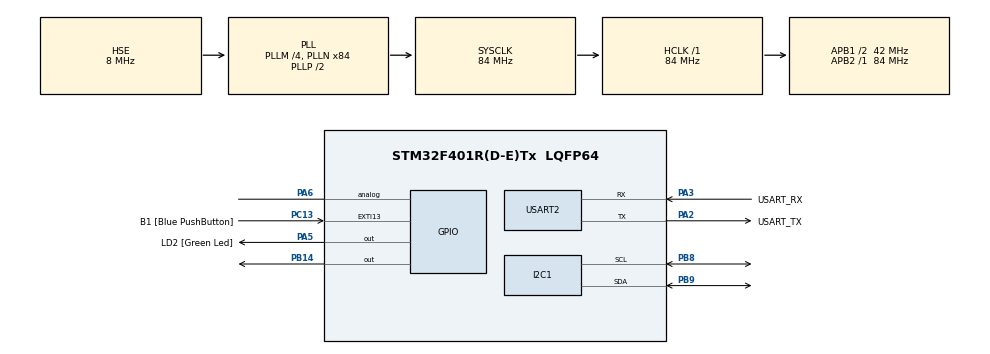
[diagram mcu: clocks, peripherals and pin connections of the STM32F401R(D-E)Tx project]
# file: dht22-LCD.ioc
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I2C1.I2C_Mode=I2C_Fast
Mcu.Family=STM32F4
Mcu.Name=STM32F401R(D-E)Tx
Mcu.Package=LQFP64
NVIC.PriorityGroup=NVIC_PRIORITYGROUP_4
PA13.GPIO_Label=TMS
PA13.Mode=Serial_Wire
PA13.Signal=SYS_JTMS-SWDIO
PA14.GPIO_Label=TCK
PA14.Mode=Serial_Wire
PA14.Signal=SYS_JTCK-SWCLK
PA2.GPIO_Label=USART_TX
PA2.GPIO_Mode=GPIO_MODE_AF_PP
PA2.GPIO_PuPd=GPIO_NOPULL
PA2.GPIO_Speed=GPIO_SPEED_FREQ_LOW
PA2.Mode=Asynchronous
PA2.Signal=USART2_TX
PA3.GPIO_Label=USART_RX
PA3.GPIO_Mode=GPIO_MODE_AF_PP
PA3.GPIO_PuPd=GPIO_NOPULL
PA3.GPIO_Speed=GPIO_SPEED_FREQ_LOW
PA3.Mode=Asynchronous
PA3.Signal=USART2_RX
PA5.GPIO_Label=LD2 [Green Led]
PA5.GPIO_Mode=GPIO_MODE_OUTPUT_PP
PA5.GPIO_PuPd=GPIO_NOPULL
PA5.GPIO_Speed=GPIO_SPEED_FREQ_LOW
PA5.Signal=GPIO_Output
PA6.Signal=GPIO_Analog
PB14.Signal=GPIO_Output
PB3.GPIO_Label=SWO
PB3.Signal=SYS_JTDO-SWO
PB8.Mode=I2C
PB8.Signal=I2C1_SCL
PB9.Mode=I2C
PB9.Signal=I2C1_SDA
PC13-ANTI_TAMP.GPIO_Label=B1 [Blue PushButton]
PC13-ANTI_TAMP.GPIO_ModeDefaultEXTI=GPIO_MODE_IT_FALLING
PC13-ANTI_TAMP.GPIO_PuPd=GPIO_NOPULL
PC13-ANTI_TAMP.Signal=GPXTI13
PC14-OSC32_IN.Signal=RCC_OSC32_IN
PC15-OSC32_OUT.Signal=RCC_OSC32_OUT
PH0\ -\ OSC_IN.Mode=HSE-External-Oscillator
PH0\ -\ OSC_IN.Signal=RCC_OSC_IN
PH1\ -\ OSC_OUT.Mode=HSE-External-Oscillator
PH1\ -\ OSC_OUT.Signal=RCC_OSC_OUT
ProjectManager.HeapSize=0x200
ProjectManager.StackSize=0x400
ProjectManager.TargetToolchain=STM32CubeIDE
RCC.48MHZClocksFreq_Value=24000000
RCC.AHBFreq_Value=84000000
RCC.APB1CLKDivider=RCC_HCLK_DIV2
RCC.APB1Freq_Value=42000000
RCC.APB1TimFreq_Value=84000000
RCC.APB2Freq_Value=84000000
RCC.APB2TimFreq_Value=84000000
RCC.CortexFreq_Value=84000000
RCC.HCLKFreq_Value=84000000
RCC.HSE_VALUE=8000000
RCC.HSI_VALUE=16000000
RCC.LSE_VALUE=32768
RCC.PLLM=4
RCC.PLLN=84
RCC.PLLQ=7
RCC.PLLSourceVirtual=RCC_PLLSOURCE_HSE
RCC.SYSCLKFreq_VALUE=84000000
RCC.SYSCLKSource=RCC_SYSCLKSOURCE_PLLCLK
RCC.VCOOutputFreq_Value=168000000
TIM1.Prescaler=71
USART2.VirtualMode=VM_ASYNC
VP_TIM1_VS_ClockSourceINT.Mode=Internal
board=NUCLEO-F401RE

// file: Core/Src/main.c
/* USER CODE BEGIN Header */
/**
  ******************************************************************************
  * @file           : main.c
  * @brief          : DHT11 -> I2C LCD 16x2 (HLF8574T backpack)
  *
  *  Pinout:
  *    DHT11 Data  -> PA6  (10kΩ pull-up to 3.3V)
  *    LCD SDA     -> PB7  (I2C1)
  *    LCD SCL     -> PB6  (I2C1)
  ******************************************************************************
  */
/* USER CODE END Header */
#include "main.h"

/* USER CODE BEGIN Includes */
#include "dht11.h"
#include "lcd_i2c.h"
#include <stdio.h>
#include <string.h>
/* USER CODE END Includes */

I2C_HandleTypeDef hi2c1;

TIM_HandleTypeDef htim1;

UART_HandleTypeDef huart2;

/* USER CODE BEGIN PV */
/* Raw values stored as tenths: 450 = 45.0%, 280 = 28.0C */
int16_t hum_raw  = 0;
int16_t temp_raw = 0;
char    lcd_buf[17];
char    uart_buf[64];
/* USER CODE END PV */

void SystemClock_Config(void);
static void MX_GPIO_Init(void);
static void MX_USART2_UART_Init(void);
static void MX_I2C1_Init(void);
static void MX_TIM1_Init(void);

/* USER CODE BEGIN 0 */

/* ── LCD display: DHT11 reading ──────────────────────────────────── */
/* Row 0: "Hum:  45.0 %    "                                          */
/* Row 1: "T: 28.0C  82.4F "                                          */
void LCD_ShowDHT11(int16_t hum, int16_t temp)
{
    int hum_i  = hum  / 10;
    int hum_d  = hum  % 10;
    int temp_i = temp / 10;
    int temp_d = temp % 10;

    /* Fahrenheit: (C * 9/5) + 32, keeping tenths precision */
    int32_t tempF_raw = (int32_t)temp * 9 / 5 + 320;
    int tempF_i = (int)(tempF_raw / 10);
    int tempF_d = (int)(tempF_raw % 10);

    LCD_SetCursor(0, 0);
    snprintf(lcd_buf, sizeof(lcd_buf), "Hum:  %2d.%d %%    ", hum_i, hum_d);
    LCD_Print(lcd_buf);

    LCD_SetCursor(0, 1);
    snprintf(lcd_buf, sizeof(lcd_buf), "T:%2d.%dC  %3d.%dF", temp_i, temp_d, tempF_i, tempF_d);
    LCD_Print(lcd_buf);
}

/* ── LCD display: sensor error ───────────────────────────────────── */
void LCD_ShowError(void)
{
    LCD_SetCursor(0, 0);
    LCD_Print("  Sensor Error! ");
    LCD_SetCursor(0, 1);
    LCD_Print(" Check wiring.. ");
}

/* USER CODE END 0 */

int main(void)
{

  /* MCU Configuration--------------------------------------------------------*/

  /* Reset of all peripherals, Initializes the Flash interface and the Systick. */
  HAL_Init();

  /* Configure the system clock */
  SystemClock_Config();

  /* Initialize all configured peripherals */
	MX_GPIO_Init();
	MX_USART2_UART_Init();
	MX_I2C1_Init();
	MX_TIM1_Init();
  /* USER CODE BEGIN 2 */
	HAL_TIM_Base_Start(&htim1);
	HAL_Delay(200);

  /* LCD splash screen */
	LCD_Init(&hi2c1);
	LCD_SetCursor(0, 0);
	LCD_Print("  DHT11 + LCD   ");
	LCD_SetCursor(0, 1);
	LCD_Print("  Starting...   ");
	HAL_Delay(2000);
	LCD_Clear();

  /* USER CODE END 2 */

  /* Infinite loop */
  while (1)
  {

    /* USER CODE BEGIN 3 */
	/* Blink onboard LED to show loop is alive */
	  HAL_GPIO_TogglePin(LD2_GPIO_Port, LD2_Pin);

	  if (DHT11_GetData(&hum_raw, &temp_raw))
	  {
		  /* ── Valid reading ── */
		  int hum_i  = hum_raw  / 10;
		  int hum_d  = hum_raw  % 10;
		  int temp_i = temp_raw / 10;
		  int temp_d = temp_raw % 10;

		  int32_t tempF_raw = (int32_t)temp_raw * 9 / 5 + 320;
		  int tempF_i = (int)(tempF_raw / 10);
		  int tempF_d = (int)(tempF_raw % 10);

		  /* Output to UART serial monitor */
		  snprintf(uart_buf, sizeof(uart_buf),
				   "Hum: %d.%d%%  Temp: %d.%dC / %d.%dF\r\n",
				   hum_i, hum_d, temp_i, temp_d, tempF_i, tempF_d);
		  HAL_UART_Transmit(&huart2, (uint8_t*)uart_buf, strlen(uart_buf), 100);

		  /* Output to LCD */
		  LCD_ShowDHT11(hum_raw, temp_raw);
	  }
	  else
	  {
		  /* ── Sensor error ── */
		  const char *err = "DHT11 error! Check wiring.\r\n";
		  HAL_UART_Transmit(&huart2, (uint8_t*)err, strlen(err), 100);
		  LCD_ShowError();
	  }

	  /* DHT11 minimum sampling interval = 1 second */
	  HAL_Delay(1000);
  }
  /* USER CODE END 3 */
}

void SystemClock_Config(void)
{
  RCC_OscInitTypeDef RCC_OscInitStruct = {0};
  RCC_ClkInitTypeDef RCC_ClkInitStruct = {0};

  /** Configure the main internal regulator output voltage
  */
  __HAL_RCC_PWR_CLK_ENABLE();
  __HAL_PWR_VOLTAGESCALING_CONFIG(PWR_REGULATOR_VOLTAGE_SCALE2);

  /** Initializes the RCC Oscillators according to the specified parameters
  * in the RCC_OscInitTypeDef structure.
  */
  RCC_OscInitStruct.OscillatorType = RCC_OSCILLATORTYPE_HSE;
  RCC_OscInitStruct.HSEState = RCC_HSE_ON;
  RCC_OscInitStruct.PLL.PLLState = RCC_PLL_ON;
  RCC_OscInitStruct.PLL.PLLSource = RCC_PLLSOURCE_HSE;
  RCC_OscInitStruct.PLL.PLLM = 4;
  RCC_OscInitStruct.PLL.PLLN = 84;
  RCC_OscInitStruct.PLL.PLLP = RCC_PLLP_DIV2;
  RCC_OscInitStruct.PLL.PLLQ = 7;
  if (HAL_RCC_OscConfig(&RCC_OscInitStruct) != HAL_OK)
  {
    Error_Handler();
  }

  /** Initializes the CPU, AHB and APB buses clocks
  */
  RCC_ClkInitStruct.ClockType = RCC_CLOCKTYPE_HCLK|RCC_CLOCKTYPE_SYSCLK
                              |RCC_CLOCKTYPE_PCLK1|RCC_CLOCKTYPE_PCLK2;
  RCC_ClkInitStruct.SYSCLKSource = RCC_SYSCLKSOURCE_PLLCLK;
  RCC_ClkInitStruct.AHBCLKDivider = RCC_SYSCLK_DIV1;
  RCC_ClkInitStruct.APB1CLKDivider = RCC_HCLK_DIV2;
  RCC_ClkInitStruct.APB2CLKDivider = RCC_HCLK_DIV1;

  if (HAL_RCC_ClockConfig(&RCC_ClkInitStruct, FLASH_LATENCY_2) != HAL_OK)
  {
    Error_Handler();
  }
}

static void MX_I2C1_Init(void)
{

  hi2c1.Instance = I2C1;
  hi2c1.Init.ClockSpeed = 400000;
  hi2c1.Init.DutyCycle = I2C_DUTYCYCLE_2;
  hi2c1.Init.OwnAddress1 = 0;
  hi2c1.Init.AddressingMode = I2C_ADDRESSINGMODE_7BIT;
  hi2c1.Init.DualAddressMode = I2C_DUALADDRESS_DISABLE;
  hi2c1.Init.OwnAddress2 = 0;
  hi2c1.Init.GeneralCallMode = I2C_GENERALCALL_DISABLE;
  hi2c1.Init.NoStretchMode = I2C_NOSTRETCH_DISABLE;
  if (HAL_I2C_Init(&hi2c1) != HAL_OK)
  {
    Error_Handler();
  }

}

static void MX_TIM1_Init(void)
{

  TIM_ClockConfigTypeDef sClockSourceConfig = {0};
  TIM_MasterConfigTypeDef sMasterConfig = {0};

  htim1.Instance = TIM1;
  htim1.Init.Prescaler = 71;
  htim1.Init.CounterMode = TIM_COUNTERMODE_UP;
  htim1.Init.Period = 65535;
  htim1.Init.ClockDivision = TIM_CLOCKDIVISION_DIV1;
  htim1.Init.RepetitionCounter = 0;
  htim1.Init.AutoReloadPreload = TIM_AUTORELOAD_PRELOAD_DISABLE;
  if (HAL_TIM_Base_Init(&htim1) != HAL_OK)
  {
    Error_Handler();
  }
  sClockSourceConfig.ClockSource = TIM_CLOCKSOURCE_INTERNAL;
  if (HAL_TIM_ConfigClockSource(&htim1, &sClockSourceConfig) != HAL_OK)
  {
    Error_Handler();
  }
  sMasterConfig.MasterOutputTrigger = TIM_TRGO_RESET;
  sMasterConfig.MasterSlaveMode = TIM_MASTERSLAVEMODE_DISABLE;
  if (HAL_TIMEx_MasterConfigSynchronization(&htim1, &sMasterConfig) != HAL_OK)
  {
    Error_Handler();
  }

}

static void MX_USART2_UART_Init(void)
{

  huart2.Instance = USART2;
  huart2.Init.BaudRate = 115200;
  huart2.Init.WordLength = UART_WORDLENGTH_8B;
  huart2.Init.StopBits = UART_STOPBITS_1;
  huart2.Init.Parity = UART_PARITY_NONE;
  huart2.Init.Mode = UART_MODE_TX_RX;
  huart2.Init.HwFlowCtl = UART_HWCONTROL_NONE;
  huart2.Init.OverSampling = UART_OVERSAMPLING_16;
  if (HAL_UART_Init(&huart2) != HAL_OK)
  {
    Error_Handler();
  }

}

static void MX_GPIO_Init(void)
{
  GPIO_InitTypeDef GPIO_InitStruct = {0};

  /* GPIO Ports Clock Enable */
  __HAL_RCC_GPIOC_CLK_ENABLE();
  __HAL_RCC_GPIOH_CLK_ENABLE();
  __HAL_RCC_GPIOA_CLK_ENABLE();
  __HAL_RCC_GPIOB_CLK_ENABLE();

  /*Configure GPIO pin Output Level */
  HAL_GPIO_WritePin(LD2_GPIO_Port, LD2_Pin, GPIO_PIN_RESET);

  /*Configure GPIO pin Output Level */
  HAL_GPIO_WritePin(GPIOB, GPIO_PIN_14, GPIO_PIN_RESET);

  /*Configure GPIO pin : B1_Pin */
  GPIO_InitStruct.Pin = B1_Pin;
  GPIO_InitStruct.Mode = GPIO_MODE_IT_FALLING;
  GPIO_InitStruct.Pull = GPIO_NOPULL;
  HAL_GPIO_Init(B1_GPIO_Port, &GPIO_InitStruct);

  /*Configure GPIO pin : LD2_Pin */
  GPIO_InitStruct.Pin = LD2_Pin;
  GPIO_InitStruct.Mode = GPIO_MODE_OUTPUT_PP;
  GPIO_InitStruct.Pull = GPIO_NOPULL;
  GPIO_InitStruct.Speed = GPIO_SPEED_FREQ_LOW;
  HAL_GPIO_Init(LD2_GPIO_Port, &GPIO_InitStruct);

  /*Configure GPIO pin : PA6 */
  GPIO_InitStruct.Pin = GPIO_PIN_6;
  GPIO_InitStruct.Mode = GPIO_MODE_ANALOG;
  GPIO_InitStruct.Pull = GPIO_NOPULL;
  HAL_GPIO_Init(GPIOA, &GPIO_InitStruct);

  /*Configure GPIO pin : PB14 */
  GPIO_InitStruct.Pin = GPIO_PIN_14;
  GPIO_InitStruct.Mode = GPIO_MODE_OUTPUT_PP;
  GPIO_InitStruct.Pull = GPIO_NOPULL;
  GPIO_InitStruct.Speed = GPIO_SPEED_FREQ_LOW;
  HAL_GPIO_Init(GPIOB, &GPIO_InitStruct);

}

void Error_Handler(void)
{
  __disable_irq();
  while (1)
  {
  }
}
